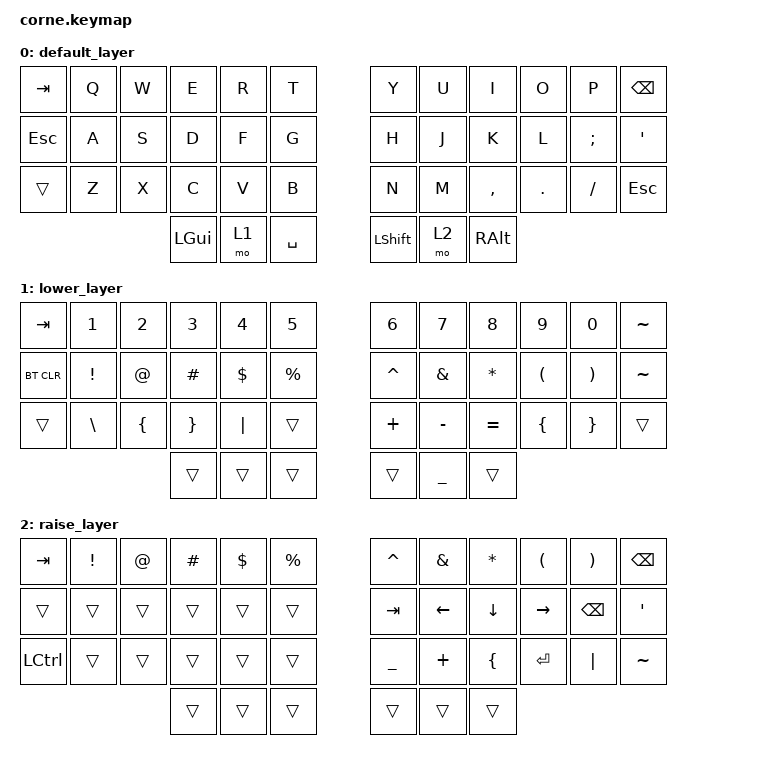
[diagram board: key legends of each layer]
/*
 * Copyright (c) 2020 The ZMK Contributors
 *
 * SPDX-License-Identifier: MIT
 */

#include <behaviors.dtsi>
#include <dt-bindings/zmk/keys.h>
#include <dt-bindings/zmk/bt.h>

/ {
        keymap {
                compatible = "zmk,keymap";

                default_layer {
// -----------------------------------------------------------------------------------------
// |  TAB |  Q  |  W  |  E  |  R  |  T  |   |  Y  |  U   |  I  |  O  |  P  | BSPC |
// | ESC |  A  |  S  |  D  |  F  |  G  |   |  H  |  J   |  K  |  L  |  ;  |  '   |
// | CTRL |  Z  |  X  |  C  |  V  |  B  |   |  N  |  M   |  ,  |  .  |  /  | ESC  |
//                    | GUI | LWR | SPC |   | SHFT | RSE  | ALT |
                        bindings = <
   &kp TAB   &kp Q &kp W &kp E &kp R &kp T   &kp Y &kp U  &kp I     &kp O   &kp P    &kp BSPC
   &kp ESC &kp A &kp S &kp D &kp F &kp G   &kp H &kp J  &kp K     &kp L   &kp SEMI &kp SQT
   &trans &kp Z &kp X &kp C &kp V &kp B   &kp N &kp M  &kp COMMA &kp DOT &kp FSLH &kp ESC
                  &kp LGUI &mo 1 &kp SPACE   &kp LSHFT &mo 2 &kp RALT
                        >;
                };
                lower_layer {
// -----------------------------------------------------------------------------------------
// |  TAB |  1  |  2  |  3  |  4  |  5  |   |  6  |  7  |  8  |  9  |  0  | ~ |
// | ESC |  !  |  @  |  #  |  $  |  %  |   |  ^  |  &  |  *  |  (  |  )  | ~ |
// | SHFT |  \  |  {  |  }  |  "|"   |     |   |     |   +  |  -   |  =   |  {   |    }  |
//                    | GUI |     | SPC |   | SHFT |     | ALT |
                        bindings = <
   &kp TAB    &kp N1       &kp N2       &kp N3       &kp N4       &kp N5         &kp N6   &kp N7   &kp N8 &kp N9    &kp N0 &kp TILDE
   &bt BT_CLR &kp EXCL &kp AT &kp HASH &kp DLLR &kp PRCNT   &kp CARET &kp AMPS  &kp ASTRK &kp LPAR &kp RPAR &kp TILDE
   &trans  &kp BSLH        &kp LBRC       &kp RBRC       &kp PIPE       &trans         &kp PLUS   &kp MINUS   &kp EQUAL &kp LBRC  &kp RBRC &trans
                                    &trans     &trans       &trans      &trans  &kp UNDER   &trans
                        >;
                };

                raise_layer {
// -----------------------------------------------------------------------------------------
// |  TAB |  !  |  @  |  #  |  $  |  %  |   |  ^  |  &  |  UP  |  (  |  )  | BSPC |
// | ESC |     |     |     |     |     |   |  TAB  |  LEFT  |  DOWN  |  RIGHT  |  BSPC  |  '   |
// | SHFT |     |     |     |     |     |   |  _  |  +  |  {  |  ENT  | "|" |  ~   |
//                    | GUI |     | SPC |   | SHFT |     | ALT |
                        bindings = <
   &kp  TAB  &kp EXCL &kp AT &kp HASH &kp DLLR &kp PRCNT   &kp CARET &kp AMPS  &kp ASTRK &kp LPAR &kp RPAR &kp BSPC
   &trans &trans   &trans &trans   &trans   &trans      &kp TAB &kp LEFT  &kp DOWN &kp RIGHT &kp BSPC &kp SQT
   &kp LCTRL &trans   &trans &trans   &trans   &trans      &kp UNDER &kp PLUS  &kp LBRC  &kp RET &kp PIPE &kp TILDE
                             &trans &trans   &trans   &trans   &trans    &trans
                        >;
                };
        };
};
